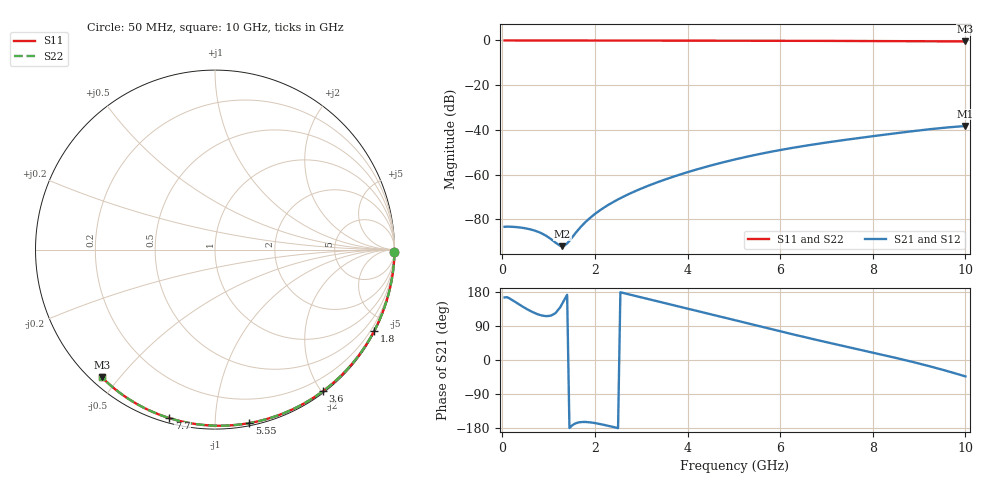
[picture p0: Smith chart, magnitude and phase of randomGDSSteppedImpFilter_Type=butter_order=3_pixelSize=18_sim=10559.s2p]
! freq	dB(S11)	phase(S11)	dB(S12)	phase(S12)
!  dB(S21)	phase(S21)	dB(S22)	phase(S22)
!S-par simulation data
#  GHz  S  DB  R 50
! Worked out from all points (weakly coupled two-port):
!   200 points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, 50 MHz to 10 GHz, reference 50 ohm
!   highest |S21| = -38.27 dB at 10 GHz (marker M1); lowest = -92.0 dB at 1.3 GHz (marker M2)
!   lowest |S11| = -0.4 dB at 10 GHz (marker M3), VSWR 39.29, Z = 1.53 - j22.5 ohm
!   |S11| at or under -10 dB: nowhere
!   |S22| runs from -0.4 to 0.0 dB; largest |S21 - S12| = 0
!   S11 on the Smith chart (normalised r, x): 50 MHz: open; 1.8 GHz: 0.04, -4.17; 3.6 GHz: 0.02, -2.02; 5.55 GHz: 0.02, -1.22; 7.7 GHz: 0.02, -0.76; 10 GHz: 0.03, -0.45
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0.05  -0.00 -0.8  -83.32 165.2  -83.32 165.2  -0.00 -0.8
0.65  -0.01 -9.9  -84.69 126.7  -84.69 126.7  -0.01 -9.9
1.3  -0.02 -19.6  -91.97 150.0  -91.97 150.0  -0.02 -19.6
1.75  -0.03 -26.2  -82.14 -163.5  -82.14 -163.5  -0.03 -26.2
1.8  -0.03 -27.0  -81.12 -163.5  -81.12 -163.5  -0.03 -27.0
1.85  -0.04 -27.7  -80.16 -163.9  -80.16 -163.9  -0.04 -27.7
2.15  -0.04 -32.1  -75.35 -170.0  -75.35 -170.0  -0.04 -32.1
2.35  -0.04 -35.0  -72.77 -175.4  -72.77 -175.4  -0.04 -35.0
2.55  -0.05 -37.9  -70.51 178.7  -70.51 178.7  -0.05 -37.9
2.95  -0.06 -43.6  -66.66 166.8  -66.66 166.8  -0.06 -43.6
3.4  -0.07 -49.9  -63.01 153.4  -63.01 153.4  -0.07 -49.9
3.6  -0.07 -52.7  -61.56 147.5  -61.56 147.5  -0.07 -52.7
4.3  -0.09 -62.3  -57.07 126.7  -57.07 126.7  -0.09 -62.3
5.05  -0.11 -72.3  -53.06 104.3  -53.06 104.3  -0.11 -72.3
5.55  -0.13 -78.8  -50.79 89.2  -50.79 89.2  -0.13 -78.8
6.1  -0.15 -85.7  -48.62 72.9  -48.62 72.9  -0.15 -85.7
6.7  -0.18 -93.2  -46.56 55.5  -46.56 55.5  -0.18 -93.2
7.2  -0.21 -99.2  -45.04 41.4  -45.04 41.4  -0.21 -99.2
7.7  -0.24 -105.2  -43.62 27.7  -43.62 27.7  -0.24 -105.2
8.35  -0.29 -112.8  -41.87 9.7  -41.87 9.7  -0.29 -112.8
9.35  -0.38 -124.2  -39.42 -20.5  -39.42 -20.5  -0.38 -124.2
10  -0.44 -131.5  -38.27 -43.3  -38.27 -43.3  -0.44 -131.5
